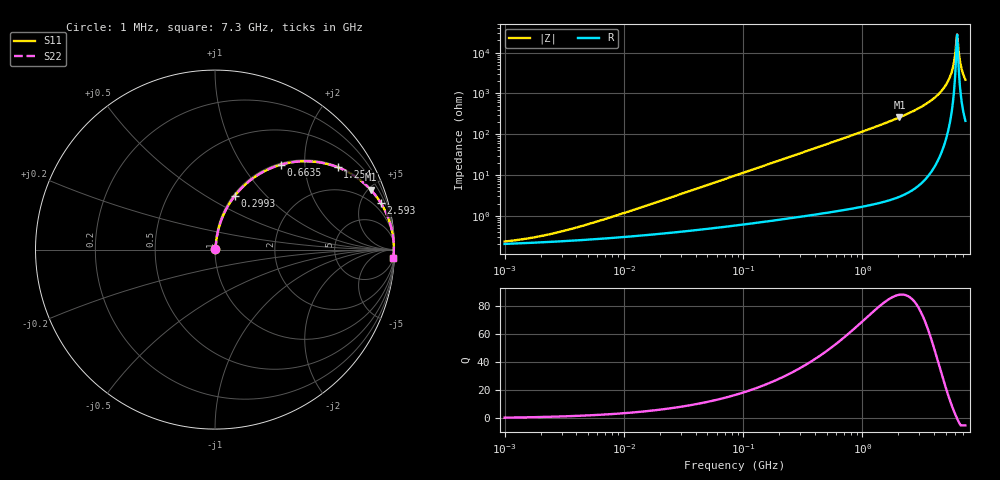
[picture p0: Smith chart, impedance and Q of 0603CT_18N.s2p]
# MHz  S  MA  R  50
!Freq  MagS11  AngS11  MagS21  AngS21  MagS12  AngS12  MagS22  AngS22
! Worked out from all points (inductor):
!   896 points, 1 MHz to 7.3 GHz, reference 50 ohm
!   read as one part in series: L = 18 nH near 7.538 MHz
!   highest Q = 88.3 at 2.043 GHz (marker M1), where L = 20.2 nH
!   self-resonance near 6.164 GHz
!   S11 on the Smith chart (normalised r, x): 1 MHz: 1.00, +0.00; 299.3 MHz: 1.02, +0.68; 663.5 MHz: 1.03, +1.52; 1.254 GHz: 1.04, +2.96; 2.593 GHz: 1.08, +7.10; 7.3 GHz: 5, -43
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1  0.002338 28.8  0.998 -0.1  0.998 -0.1  0.002338 28.8
2.047099  0.003219 45.7  0.9978 -0.1  0.9978 -0.1  0.003219 45.7
4.448423  0.005627 62.8  0.9974 -0.3  0.9974 -0.3  0.005627 62.8
19.59254  0.02236 79.5  0.9962 -1.3  0.9962 -1.3  0.02236 79.5
86.29298  0.09677 81.1  0.9896 -5.5  0.9896 -5.5  0.09677 81.1
299.3279  0.3187 69.8  0.939 -18.6  0.939 -18.6  0.3187 69.8
380.067  0.3928 65.5  0.9101 -23.1  0.9101 -23.1  0.3928 65.5
663.5247  0.5996 52.1  0.7897 -36.8  0.7897 -36.8  0.5996 52.1
1254.368  0.8234 33.8  0.5568 -55.4  0.5568 -55.4  0.8234 33.8
1673.959  0.8939 26.0  0.4379 -63.4  0.4379 -63.4  0.8939 26.0
2042.548  0.9293 21.0  0.3589 -68.3  0.3589 -68.3  0.9293 21.0
2593.494  0.9596 15.7  0.2702 -73.7  0.2702 -73.7  0.9596 15.7
3785.275  0.9868 8.3  0.1451 -80.6  0.1451 -80.6  0.9868 8.3
4854.358  0.9947 4.1  0.07082 -83.7  0.07082 -83.7  0.9947 4.1
5256.575  0.9959 2.7  0.04791 -83.7  0.04791 -83.7  0.9959 2.7
5579.96  0.9964 1.8  0.03093 -82.4  0.03093 -82.4  0.9964 1.8
5806.529  0.9965 1.1  0.01972 -79.3  0.01972 -79.3  0.9965 1.1
6042.297  0.9965 0.5  0.008854 -66.7  0.008854 -66.7  0.9965 0.5
6163.747  0.9965 0.1  0.00433 -35.5  0.00433 -35.5  0.9965 0.1
6350.515  0.9963 -0.3  0.006968 58.0  0.006968 58.0  0.9963 -0.3
6808.611  0.9956 -1.5  0.02598 79.6  0.02598 79.6  0.9956 -1.5
7300  0.9945 -2.6  0.04571 81.8  0.04571 81.8  0.9945 -2.6
